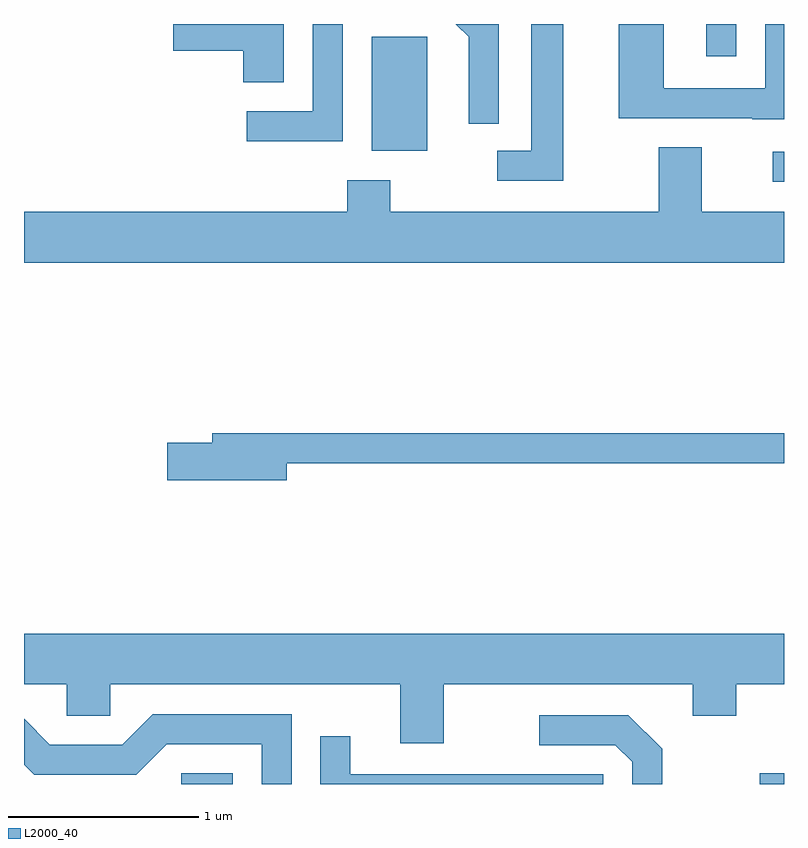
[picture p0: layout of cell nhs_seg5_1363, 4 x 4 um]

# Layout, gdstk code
import gdstk
lib = gdstk.Library(unit=1e-6, precision=1e-09)
def R(c, l, rs):  # rectangles x0, y0, x1, y1
    for r in rs: c.add(gdstk.rectangle(r[:2], r[2:], *l))
def P(c, l, *ps):  # polygons
    for p in ps: c.add(gdstk.Polygon(p, *l))
L2000_40 = (2000, 40)

nhs_seg5_1363 = lib.new_cell('nhs_seg5_1363')
R(nhs_seg5_1363, L2000_40, [(226.438,1434.072,226.709,1434.129), (229.483,1434.072,229.611,1434.129), (229.553,1437.241,229.611,1437.399), (227.441,1437.406,227.734,1438.004), (229.201,1437.903,229.359,1438.072)])
P(nhs_seg5_1363, L2000_40, [(228.109,1438.072),(227.883,1438.072),(227.951,1438.004),(227.951,1437.548),(228.109,1437.548)],
  [(227.289,1438.072),(227.131,1438.072),(227.131,1437.614),(226.783,1437.614),(226.783,1437.456),(227.289,1437.456)],
  [(228.449,1438.072),(228.281,1438.072),(228.281,1437.404),(228.103,1437.404),(228.103,1437.246),(228.449,1437.246)],
  [(229.611,1438.072),(229.511,1438.072),(229.511,1437.734),(228.979,1437.734),(228.979,1438.072),(228.741,1438.072),(228.741,1437.576),(229.445,1437.576),(229.445,1437.571),(229.611,1437.571)],
  [(226.979,1438.072),(226.396,1438.072),(226.396,1437.931),(226.766,1437.931),(226.766,1437.766),(226.979,1437.766)],
  [(229.611,1437.084),(229.179,1437.084),(229.179,1437.424),(228.951,1437.424),(228.951,1437.084),(227.539,1437.084),(227.539,1437.249),(227.311,1437.249),(227.311,1437.084),(225.611,1437.084),(225.611,1436.816),(229.611,1436.816)],
  [(226.994,1435.761),(229.611,1435.761),(229.611,1435.919),(226.601,1435.919),(226.601,1435.869),(226.366,1435.869),(226.366,1435.671),(226.994,1435.671)],
  [(227.819,1434.596),(229.131,1434.596),(229.131,1434.431),(229.359,1434.431),(229.359,1434.596),(229.611,1434.596),(229.611,1434.864),(225.611,1434.864),(225.611,1434.596),(225.836,1434.596),(225.836,1434.431),(226.064,1434.431),(226.064,1434.596),(227.591,1434.596),(227.591,1434.286),(227.819,1434.286)],
  [(227.019,1434.439),(226.289,1434.439),(226.129,1434.279),(225.747,1434.279),(225.611,1434.415),(225.611,1434.174),(225.664,1434.121),(226.202,1434.121),(226.362,1434.281),(226.861,1434.281),(226.861,1434.072),(227.019,1434.072)],
  [(228.969,1434.257),(228.792,1434.434),(228.323,1434.434),(228.323,1434.276),(228.724,1434.276),(228.811,1434.189),(228.811,1434.072),(228.969,1434.072)],
  [(228.659,1434.124),(227.329,1434.124),(227.329,1434.323),(227.171,1434.323),(227.171,1434.072),(228.659,1434.072)])

lib.write_gds('nhs_seg5_1363.gds')
